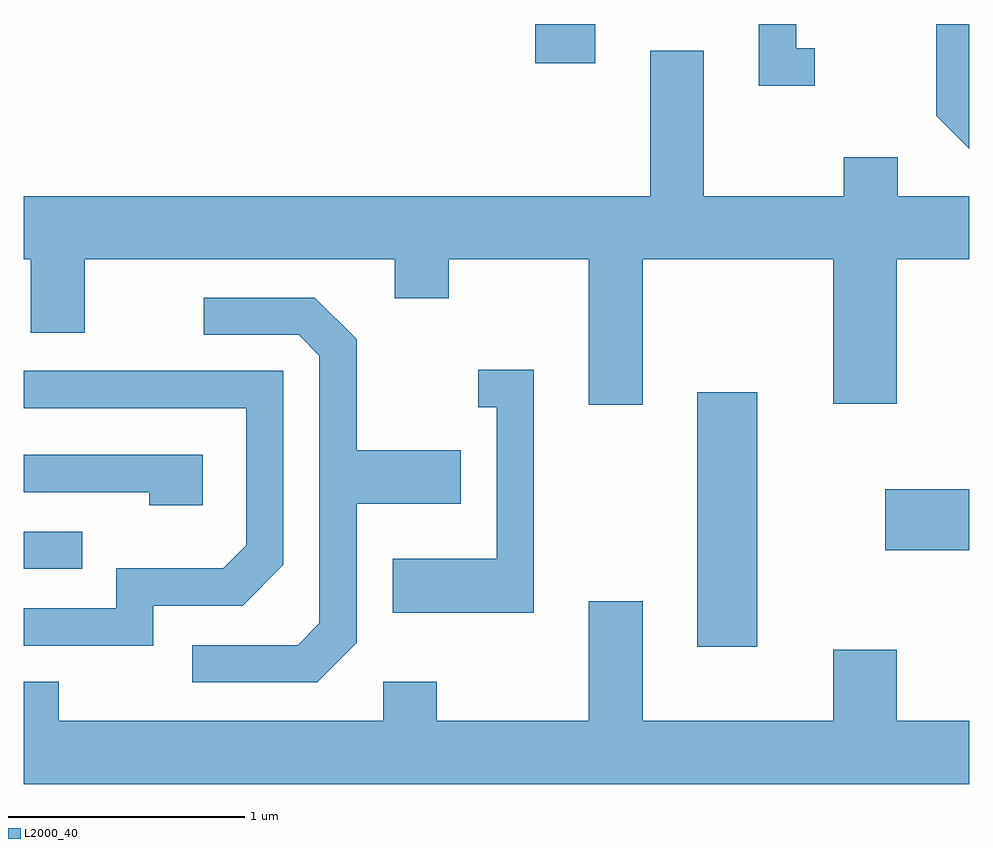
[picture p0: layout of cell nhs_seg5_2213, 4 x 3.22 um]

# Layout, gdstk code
import gdstk
lib = gdstk.Library(unit=1e-6, precision=1e-09)
def R(c, l, rs):  # rectangles x0, y0, x1, y1
    for r in rs: c.add(gdstk.rectangle(r[:2], r[2:], *l))
def P(c, l, *ps):  # polygons
    for p in ps: c.add(gdstk.Polygon(p, *l))
L2000_40 = (2000, 40)

nhs_seg5_2213 = lib.new_cell('nhs_seg5_2213')
R(nhs_seg5_2213, L2000_40, [(254.461,1397.436,254.714,1398.514), (251.611,1397.766,251.858,1397.924), (255.256,1397.846,255.611,1398.104), (253.776,1399.906,254.029,1400.072)])
P(nhs_seg5_2213, L2000_40, [(254.958,1399.969),(254.879,1399.969),(254.879,1400.072),(254.721,1400.072),(254.721,1399.811),(254.958,1399.811)],
  [(255.611,1400.072),(255.471,1400.072),(255.471,1399.684),(255.611,1399.544)],
  [(251.611,1399.076),(251.641,1399.076),(251.641,1398.766),(251.869,1398.766),(251.869,1399.076),(253.181,1399.076),(253.181,1398.911),(253.409,1398.911),(253.409,1399.076),(254.001,1399.076),(254.001,1398.461),(254.229,1398.461),(254.229,1399.076),(255.036,1399.076),(255.036,1398.466),(255.304,1398.466),(255.304,1399.076),(255.611,1399.076),(255.611,1399.344),(255.309,1399.344),(255.309,1399.509),(255.081,1399.509),(255.081,1399.344),(254.489,1399.344),(254.489,1399.959),(254.261,1399.959),(254.261,1399.344),(251.611,1399.344)],
  [(253.019,1397.454),(253.019,1398.041),(253.459,1398.041),(253.459,1398.269),(253.019,1398.269),(253.019,1398.737),(252.842,1398.914),(252.373,1398.914),(252.373,1398.756),(252.774,1398.756),(252.861,1398.669),(252.861,1397.537),(252.769,1397.444),(252.323,1397.444),(252.323,1397.286),(252.852,1397.286)],
  [(253.769,1398.609),(253.533,1398.609),(253.533,1398.451),(253.611,1398.451),(253.611,1397.809),(253.171,1397.809),(253.171,1397.581),(253.769,1397.581)],
  [(252.159,1397.611),(252.537,1397.611),(252.709,1397.784),(252.709,1398.604),(251.611,1398.604),(251.611,1398.446),(252.551,1398.446),(252.551,1397.867),(252.454,1397.769),(252.001,1397.769),(252.001,1397.599),(251.611,1397.599),(251.611,1397.441),(252.159,1397.441)],
  [(252.369,1398.249),(251.611,1398.249),(251.611,1398.091),(252.141,1398.091),(252.141,1398.036),(252.369,1398.036)],
  [(255.036,1397.424),(255.036,1397.124),(254.229,1397.124),(254.229,1397.629),(254.001,1397.629),(254.001,1397.124),(253.359,1397.124),(253.359,1397.289),(253.131,1397.289),(253.131,1397.124),(251.759,1397.124),(251.759,1397.289),(251.611,1397.289),(251.611,1396.856),(255.611,1396.856),(255.611,1397.124),(255.304,1397.124),(255.304,1397.424)])

lib.write_gds('nhs_seg5_2213.gds')
